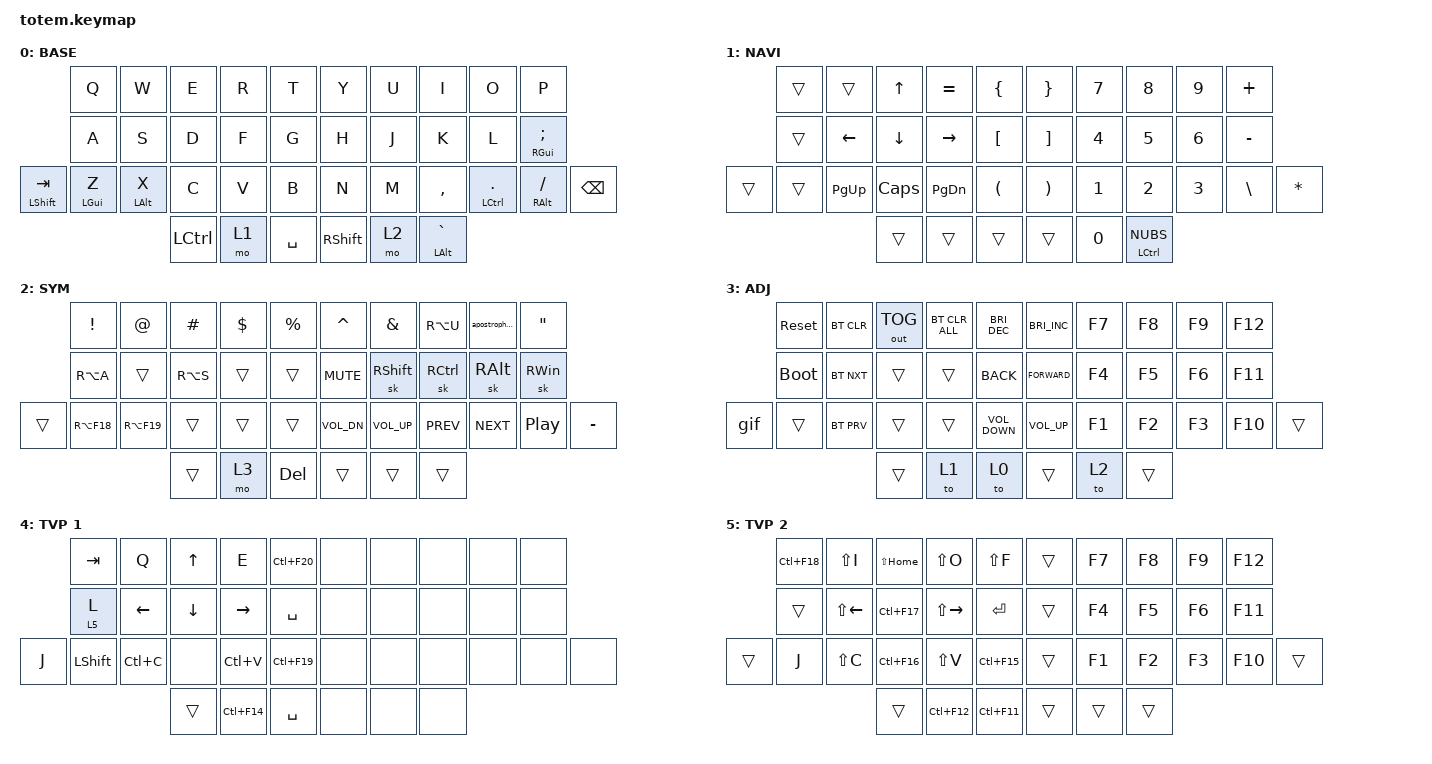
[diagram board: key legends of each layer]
//
//                                                        ▀▀▀▀▀     ▀▀▀▀▀          ▀▀█▀▀
//                                                        ▄▀▀▀▄  ▄  ▄▀▀▀▄  ▄  ▄▀▀▀▄  █  ▄▀▀▀▄
//                                                        █   █  █  █   █  █  █   █  █  █   █
//                                                         ▀▀▀   █   ▀▀▀   █   ▀▀▀   ▀   ▀▀▀
//                                                               █      ▄▄▄█▄▄▄    █   █  
//                                                               ▀      █  █  █     █▄█
//                                                             ▀▀▀▀▀    █  █  █      ▀
//                                                                      ▀  ▀  ▀
//
// ▄▄▄▄▄▄▄▄▄▄▄▄▄▄▄▄▄▄▄▄▄▄▄▄▄▄▄▄▄▄▄▄▄▄▄▄▄▄▄▄▄▄▄▄▄▄▄▄▄▄▄▄▄▄▄▄▄▄▄▄▄▄▄▄▄▄▄▄▄▄▄▄▄▄▄▄▄▄▄▄▄▄▄▄▄▄▄▄▄▄▄▄▄▄▄▄▄▄▄▄▄▄▄▄▄▄▄▄▄▄▄▄▄▄▄▄▄▄▄▄▄▄▄▄▄▄▄▄▄▄▄▄▄▄▄▄▄▄▄▄▄▄▄▄▄▄▄▄▄

#include <behaviors.dtsi>
#include <dt-bindings/zmk/bt.h>
#include <dt-bindings/zmk/keys.h>
#include <dt-bindings/zmk/outputs.h>

#define BASE 0
#define NAV  1
#define SYM  2
#define ADJ  3
#define TVP1 4
#define TVP2 5

&mt {
    quick-tap-ms = <100>;
    global-quick-tap;
    flavor = "tap-preferred";
    tapping-term-ms = <170>;
};

/ {
    combos {
        compatible = "zmk,combos";

        combo_esc {
            timeout-ms = <50>;
            key-positions = <0 1>;
            bindings = <&kp ESC>;
        };

        combo_tvp {
            timeout-ms = <100>;
            key-positions = <11 12 13>;
            bindings = <&tog 3>;
        };

        newline {
            bindings = <&kp RETURN>;
            key-positions = <16 17 18>;
            timeout-ms = <100>;
        };

        smilecombo {
            bindings = <&smile>;
            key-positions = <6 7 8>;
        };

        winkcombo {
            bindings = <&wink>;
            key-positions = <6 7 5>;
        };

        backspacecombo {
            bindings = <&kp BACKSPACE>;
            key-positions = <16 15>;
            timeout-ms = <50>;
        };

        gamelayer {
            bindings = <&tog 4>;
            key-positions = <22 23 24>;
            timeout-ms = <100>;
        };

        backspacealt {
            bindings = <&kp RA(BACKSPACE)>;
            key-positions = <16 15 17>;
            timeout-ms = <50>;
        };

        backspaceline {
            bindings = <&kp RG(BACKSPACE)>;
            key-positions = <16 15 17 18>;
            timeout-ms = <50>;
        };
    };

    macros {
        gif: gif {
            label = "giphy";
            compatible = "zmk,behavior-macro";
            #binding-cells = <0>;
            bindings =
                <&macro_press>,
                <&kp LSHFT>,
                <&macro_tap>,
                <&kp N2>,
                <&macro_release>,
                <&kp LSHFT>,
                <&macro_tap>,
                <&kp G &kp I &kp F>;
        };

        smile: smile {
            compatible = "zmk,behavior-macro";
            #binding-cells = <0>;
            bindings = <&macro_tap>, <&kp COLON &kp RIGHT_PARENTHESIS>;

            label = "SMILE";
        };

        wink: wink {
            compatible = "zmk,behavior-macro";
            #binding-cells = <0>;
            bindings = <&macro_tap>, <&kp SEMICOLON &kp RIGHT_PARENTHESIS>;

            label = "WINK";
        };

        apostrophesingle: apostrophesingle {
            compatible = "zmk,behavior-macro";
            #binding-cells = <0>;
            bindings = <&macro_tap>, <&kp APOS &kp SPACE>;

            label = "APOSTROPHESINGLE";
        };
    };

    keymap {
        compatible = "zmk,keymap";

        // ▄▄▄▄▄▄▄▄▄▄▄▄▄▄▄▄▄▄▄▄▄▄▄▄▄▄▄▄▄▄▄▄▄▄▄▄▄▄▄▄▄▄▄▄▄▄▄▄▄▄▄▄▄▄▄▄▄▄▄▄▄▄▄▄▄▄▄▄▄▄▄▄▄▄▄▄▄▄▄▄▄▄▄▄▄▄▄▄▄▄▄▄▄▄▄▄▄▄▄▄▄▄▄▄▄▄▄▄▄▄▄▄▄▄▄▄▄▄▄▄▄▄▄▄▄▄▄▄▄▄▄▄▄▄▄▄▄▄▄▄▄▄▄▄▄▄▄▄▄

        base_layer {
            // ┏━━━━━━━━━━━━━━━━━━━━━━━━━━━━━━━━━━━━━━━┓

            label = "BASE";

            // ┗━━━━━━━━━━━━━━━━━━━━━━━━━━━━━━━━━━━━━━━┛
            //             ┏━━━━━━━━━━━┳━━━━━━━━━━━┳━━━━━━━━━━━┳━━━━━━━━━━━┳━━━━━━━━━━━┓   ┏━━━━━━━━━━━┳━━━━━━━━━━━┳━━━━━━━━━━━┳━━━━━━━━━━━┳━━━━━━━━━━━┓
            //             ┃     Q     ┃     W     ┃     F     ┃     P     ┃     G     ┃   ┃     J     ┃     L     ┃     U     ┃     Y     ┃     ;     ┃
            //             ┣━━━━━━━━━━━╋━━━━━━━━━━━╋━━━━━━━━━━━╋━━━━━━━━━━━╋━━━━━━━━━━━┫   ┣━━━━━━━━━━━╋━━━━━━━━━━━╋━━━━━━━━━━━╋━━━━━━━━━━━╋━━━━━━━━━━━┫
            //             ┃     A     ┃     R     ┃     S     ┃     T     ┃     D     ┃   ┃     H     ┃     N     ┃     E     ┃     I     ┃     O     ┃
            // ┏━━━━━━━━━━━╋━━━━━━━━━━━╋━━━━━━━━━━━╋━━━━━━━━━━━╋━━━━━━━━━━━╋━━━━━━━━━━━┫   ┣━━━━━━━━━━━╋━━━━━━━━━━━╋━━━━━━━━━━━╋━━━━━━━━━━━╋━━━━━━━━━━━╋━━━━━━━━━━━┓
            // ┃     Q     ┃     Z     ┃     X     ┃     C     ┃     V     ┃     B     ┃   ┃     K     ┃     M     ┃     ,     ┃     .     ┃     /     ┃     \     ┃
            // ┗━━━━━━━━━━━┻━━━━━━━━━━━┻━━━━━━━━━━━╋━━━━━━━━━━━╋━━━━━━━━━━━╋━━━━━━━━━━━┫   ┣━━━━━━━━━━━╋━━━━━━━━━━━╋━━━━━━━━━━━╋━━━━━━━━━━━┻━━━━━━━━━━━┻━━━━━━━━━━━┛
            //                                     ┃    DEL    ┃    TAB    ┃    SPC    ┃   ┃   ENTER   ┃           ┃   BSPC    ┃
            //                                     ┗━━━━━━━━━━━┻━━━━━━━━━━━┻━━━━━━━━━━━┛   ┗━━━━━━━━━━━┻━━━━━━━━━━━┻━━━━━━━━━━━┛

            bindings = <
                    &kp Q       &kp W           &kp E      &kp R  &kp T        &kp Y            &kp U  &kp I               &kp O                 &kp P
                    &kp A       &kp S           &kp D      &kp F  &kp G        &kp H            &kp J  &kp K               &kp L                 &mt RGUI SEMI
&mt LEFT_SHIFT TAB  &mt LGUI Z  &mt LEFT_ALT X  &kp C      &kp V  &kp B        &kp N            &kp M  &kp COMMA           &mt LEFT_CONTROL DOT  &mt RIGHT_ALT FSLH  &kp BACKSPACE
                                                &kp LCTRL  &mo 1  &kp SPACE    &kp RIGHT_SHIFT  &mo 2  &mt LEFT_ALT GRAVE
            >;
        };

        // ▄▄▄▄▄▄▄▄▄▄▄▄▄▄▄▄▄▄▄▄▄▄▄▄▄▄▄▄▄▄▄▄▄▄▄▄▄▄▄▄▄▄▄▄▄▄▄▄▄▄▄▄▄▄▄▄▄▄▄▄▄▄▄▄▄▄▄▄▄▄▄▄▄▄▄▄▄▄▄▄▄▄▄▄▄▄▄▄▄▄▄▄▄▄▄▄▄▄▄▄▄▄▄▄▄▄▄▄▄▄▄▄▄▄▄▄▄▄▄▄▄▄▄▄▄▄▄▄▄▄▄▄▄▄▄▄▄▄▄▄▄▄▄▄▄▄▄▄▄

        nav_layer {
            // ┏━━━━━━━━━━━━━━━━━━━━━━━━━━━━━━━━━━━━━━━┓

            label = "NAVI";

            // ┗━━━━━━━━━━━━━━━━━━━━━━━━━━━━━━━━━━━━━━━┛
            //             ┏━━━━━━━━━━━┳━━━━━━━━━━━┳━━━━━━━━━━━┳━━━━━━━━━━━┳━━━━━━━━━━━┓   ┏━━━━━━━━━━━┳━━━━━━━━━━━┳━━━━━━━━━━━┳━━━━━━━━━━━┳━━━━━━━━━━━┓
            //             ┃           ┃           ┃     UP    ┃           ┃     {     ┃   ┃     }     ┃     7     ┃     8     ┃     9     ┃     +     ┃
            //             ┣━━━━━━━━━━━╋━━━━━━━━━━━╋━━━━━━━━━━━╋━━━━━━━━━━━╋━━━━━━━━━━━┫   ┣━━━━━━━━━━━╋━━━━━━━━━━━╋━━━━━━━━━━━╋━━━━━━━━━━━╋━━━━━━━━━━━┫
            //             ┃   SHIFT   ┃   LEFT    ┃    DOWN   ┃   RIGHT   ┃     [     ┃   ┃     ]     ┃     4     ┃     5     ┃     6     ┃     -     ┃
            // ┏━━━━━━━━━━━╋━━━━━━━━━━━╋━━━━━━━━━━━╋━━━━━━━━━━━╋━━━━━━━━━━━╋━━━━━━━━━━━┫   ┣━━━━━━━━━━━╋━━━━━━━━━━━╋━━━━━━━━━━━╋━━━━━━━━━━━╋━━━━━━━━━━━╋━━━━━━━━━━━┓
            // ┃           ┃           ┃   P UP    ┃  C LOCK   ┃  P DOWN   ┃     (     ┃   ┃     )     ┃     1     ┃     2     ┃     3     ┃     *     ┃           ┃
            // ┗━━━━━━━━━━━┻━━━━━━━━━━━┻━━━━━━━━━━━╋━━━━━━━━━━━╋━━━━━━━━━━━╋━━━━━━━━━━━┫   ┣━━━━━━━━━━━╋━━━━━━━━━━━╋━━━━━━━━━━━╋━━━━━━━━━━━┻━━━━━━━━━━━┻━━━━━━━━━━━┛
            //                                     ┃           ┃    TAB    ┃    SPC    ┃   ┃    DEL    ┃     0     ┃           ┃
            //                                     ┗━━━━━━━━━━━┻━━━━━━━━━━━┻━━━━━━━━━━━┛   ┗━━━━━━━━━━━┻━━━━━━━━━━━┻━━━━━━━━━━━┛

            bindings = <
        &trans  &trans     &kp UP    &kp EQUAL  &kp LBRC    &kp RBRC  &kp NUMBER_7  &kp NUMBER_8    &kp NUMBER_9  &kp PLUS
        &trans  &kp LEFT   &kp DOWN  &kp RIGHT  &kp LBKT    &kp RBKT  &kp NUMBER_4  &kp NUMBER_5    &kp NUMBER_6  &kp MINUS
&trans  &trans  &kp PG_UP  &kp CAPS  &kp PG_DN  &kp LPAR    &kp RPAR  &kp NUMBER_1  &kp NUMBER_2    &kp NUMBER_3  &kp BACKSLASH  &kp ASTERISK
                           &trans    &trans     &trans      &trans    &kp NUMBER_0  &mt LCTRL NUBS
            >;
        };

        // ▄▄▄▄▄▄▄▄▄▄▄▄▄▄▄▄▄▄▄▄▄▄▄▄▄▄▄▄▄▄▄▄▄▄▄▄▄▄▄▄▄▄▄▄▄▄▄▄▄▄▄▄▄▄▄▄▄▄▄▄▄▄▄▄▄▄▄▄▄▄▄▄▄▄▄▄▄▄▄▄▄▄▄▄▄▄▄▄▄▄▄▄▄▄▄▄▄▄▄▄▄▄▄▄▄▄▄▄▄▄▄▄▄▄▄▄▄▄▄▄▄▄▄▄▄▄▄▄▄▄▄▄▄▄▄▄▄▄▄▄▄▄▄▄▄▄▄▄▄

        sim_layer {
            // ┏━━━━━━━━━━━━━━━━━━━━━━━━━━━━━━━━━━━━━━━┓

            label = "SYM";

            // ┗━━━━━━━━━━━━━━━━━━━━━━━━━━━━━━━━━━━━━━━┛
            //             ┏━━━━━━━━━━━┳━━━━━━━━━━━┳━━━━━━━━━━━┳━━━━━━━━━━━┳━━━━━━━━━━━┓   ┏━━━━━━━━━━━┳━━━━━━━━━━━┳━━━━━━━━━━━┳━━━━━━━━━━━┳━━━━━━━━━━━┓
            //             ┃     !     ┃     @     ┃     #     ┃     $     ┃     %     ┃   ┃     ˆ     ┃     &     ┃     Ü     ┃     '     ┃     "     ┃
            //             ┣━━━━━━━━━━━╋━━━━━━━━━━━╋━━━━━━━━━━━╋━━━━━━━━━━━╋━━━━━━━━━━━┫   ┣━━━━━━━━━━━╋━━━━━━━━━━━╋━━━━━━━━━━━╋━━━━━━━━━━━╋━━━━━━━━━━━┫
            //             ┃     Ä     ┃           ┃    SZ     ┃           ┃           ┃   ┃   MUTE    ┃   YEN     ┃   EURO    ┃  POUND    ┃     Ö     ┃
            // ┏━━━━━━━━━━━╋━━━━━━━━━━━╋━━━━━━━━━━━╋━━━━━━━━━━━╋━━━━━━━━━━━╋━━━━━━━━━━━┫   ┣━━━━━━━━━━━╋━━━━━━━━━━━╋━━━━━━━━━━━╋━━━━━━━━━━━╋━━━━━━━━━━━╋━━━━━━━━━━━┓
            // ┃           ┃  EMAIL1   ┃  EMAIL2   ┃           ┃           ┃           ┃   ┃   VOL-    ┃   VOL+    ┃   LAST    ┃   NEXT    ┃     \     ┃           ┃
            // ┗━━━━━━━━━━━┻━━━━━━━━━━━┻━━━━━━━━━━━╋━━━━━━━━━━━╋━━━━━━━━━━━╋━━━━━━━━━━━┫   ┣━━━━━━━━━━━╋━━━━━━━━━━━╋━━━━━━━━━━━╋━━━━━━━━━━━┻━━━━━━━━━━━┻━━━━━━━━━━━┛
            //                                     ┃           ┃    GIF    ┃    ADJ    ┃   ┃           ┃           ┃           ┃
            //                                     ┗━━━━━━━━━━━┻━━━━━━━━━━━┻━━━━━━━━━━━┛   ┗━━━━━━━━━━━┻━━━━━━━━━━━┻━━━━━━━━━━━┛

            bindings = <
        &kp EXCL     &kp AT       &kp HASH   &kp DLLR  &kp PRCNT    &kp CARET     &kp AMPS         &kp RA(U)   &apostrophesingle  &kp DQT
        &kp RA(A)    &trans       &kp RA(S)  &trans    &trans       &kp C_MUTE    &sk RIGHT_SHIFT  &sk RCTRL   &sk RIGHT_ALT      &sk RIGHT_WIN
&trans  &kp RA(F18)  &kp RA(F19)  &trans     &trans    &trans       &kp C_VOL_DN  &kp C_VOL_UP     &kp C_PREV  &kp C_NEXT         &kp C_PP       &kp MINUS
                                  &trans     &mo 3     &kp DEL      &trans        &trans           &trans
            >;
        };

        // ▄▄▄▄▄▄▄▄▄▄▄▄▄▄▄▄▄▄▄▄▄▄▄▄▄▄▄▄▄▄▄▄▄▄▄▄▄▄▄▄▄▄▄▄▄▄▄▄▄▄▄▄▄▄▄▄▄▄▄▄▄▄▄▄▄▄▄▄▄▄▄▄▄▄▄▄▄▄▄▄▄▄▄▄▄▄▄▄▄▄▄▄▄▄▄▄▄▄▄▄▄▄▄▄▄▄▄▄▄▄▄▄▄▄▄▄▄▄▄▄▄▄▄▄▄▄▄▄▄▄▄▄▄▄▄▄▄▄▄▄▄▄▄▄▄▄▄▄▄

        adjust_layer {
            // ┏━━━━━━━━━━━━━━━━━━━━━━━━━━━━━━━━━━━━━━━┓

            label = "ADJ";

            // ┗━━━━━━━━━━━━━━━━━━━━━━━━━━━━━━━━━━━━━━━┛
            //             ┏━━━━━━━━━━━┳━━━━━━━━━━━┳━━━━━━━━━━━┳━━━━━━━━━━━┳━━━━━━━━━━━┓   ┏━━━━━━━━━━━┳━━━━━━━━━━━┳━━━━━━━━━━━┳━━━━━━━━━━━┳━━━━━━━━━━━┓
            //             ┃   RESET   ┃ BT CLEAR  ┃  OUT TOG  ┃           ┃           ┃   ┃           ┃    F7     ┃    F8     ┃    F9     ┃    F12    ┃
            //             ┣━━━━━━━━━━━╋━━━━━━━━━━━╋━━━━━━━━━━━╋━━━━━━━━━━━╋━━━━━━━━━━━┫   ┣━━━━━━━━━━━╋━━━━━━━━━━━╋━━━━━━━━━━━╋━━━━━━━━━━━╋━━━━━━━━━━━┫
            //             ┃ BOOTLOAD  ┃ BT NEXT   ┃           ┃           ┃           ┃   ┃           ┃    F4     ┃    F5     ┃    F6     ┃    F11    ┃
            // ┏━━━━━━━━━━━╋━━━━━━━━━━━╋━━━━━━━━━━━╋━━━━━━━━━━━╋━━━━━━━━━━━╋━━━━━━━━━━━┫   ┣━━━━━━━━━━━╋━━━━━━━━━━━╋━━━━━━━━━━━╋━━━━━━━━━━━╋━━━━━━━━━━━╋━━━━━━━━━━━┓
            // ┃           ┃           ┃ BT PREV   ┃           ┃           ┃           ┃   ┃           ┃    F1     ┃    F2     ┃    F3     ┃    F10    ┃           ┃
            // ┗━━━━━━━━━━━┻━━━━━━━━━━━┻━━━━━━━━━━━╋━━━━━━━━━━━╋━━━━━━━━━━━╋━━━━━━━━━━━┫   ┣━━━━━━━━━━━╋━━━━━━━━━━━╋━━━━━━━━━━━╋━━━━━━━━━━━┻━━━━━━━━━━━┻━━━━━━━━━━━┛
            //                                     ┃           ┃           ┃           ┃   ┃           ┃           ┃           ┃
            //                                     ┗━━━━━━━━━━━┻━━━━━━━━━━━┻━━━━━━━━━━━┛   ┗━━━━━━━━━━━┻━━━━━━━━━━━┻━━━━━━━━━━━┛

            bindings = <
      &sys_reset   &bt BT_CLR  &out OUT_TOG  &bt BT_CLR_ALL  &kp C_BRIGHTNESS_DEC    &kp C_BRIGHTNESS_INC  &kp F7  &kp F8  &kp F9  &kp F12
      &bootloader  &bt BT_NXT  &trans        &trans          &kp K_BACK              &kp K_FORWARD         &kp F4  &kp F5  &kp F6  &kp F11
&gif  &trans       &bt BT_PRV  &trans        &trans          &kp C_VOLUME_DOWN       &kp C_VOLUME_UP       &kp F1  &kp F2  &kp F3  &kp F10  &trans
                               &trans        &to 1           &to 0                   &trans                &to 2   &trans
            >;
        };

        // ▄▄▄▄▄▄▄▄▄▄▄▄▄▄▄▄▄▄▄▄▄▄▄▄▄▄▄▄▄▄▄▄▄▄▄▄▄▄▄▄▄▄▄▄▄▄▄▄▄▄▄▄▄▄▄▄▄▄▄▄▄▄▄▄▄▄▄▄▄▄▄▄▄▄▄▄▄▄▄▄▄▄▄▄▄▄▄▄▄▄▄▄▄▄▄▄▄▄▄▄▄▄▄▄▄▄▄▄▄▄▄▄▄▄▄▄▄▄▄▄▄▄▄▄▄▄▄▄▄▄▄▄▄▄▄▄▄▄▄▄▄▄▄▄▄▄▄▄▄

        game {
            // ┏━━━━━━━━━━━━━━━━━━━━━━━━━━━━━━━━━━━━━━━┓

            label = "TVP 1";

            // ┗━━━━━━━━━━━━━━━━━━━━━━━━━━━━━━━━━━━━━━━┛
            //             ┏━━━━━━━━━━━┳━━━━━━━━━━━┳━━━━━━━━━━━┳━━━━━━━━━━━┳━━━━━━━━━━━┓   ┏━━━━━━━━━━━┳━━━━━━━━━━━┳━━━━━━━━━━━┳━━━━━━━━━━━┳━━━━━━━━━━━┓
            //             ┃ NEXT FILE ┃ MARK IN   ┃ ROTATE    ┃ MARK OUT  ┃ SHOW SNAP ┃   ┃           ┃           ┃           ┃           ┃           ┃
            //             ┣━━━━━━━━━━━╋━━━━━━━━━━━╋━━━━━━━━━━━╋━━━━━━━━━━━╋━━━━━━━━━━━┫   ┣━━━━━━━━━━━╋━━━━━━━━━━━╋━━━━━━━━━━━╋━━━━━━━━━━━╋━━━━━━━━━━━┫
            //             ┃ TVP II    ┃ LEFT      ┃ PAN       ┃ RIGHT     ┃ PLAY/FLIP ┃   ┃           ┃           ┃           ┃           ┃           ┃
            // ┏━━━━━━━━━━━╋━━━━━━━━━━━╋━━━━━━━━━━━╋━━━━━━━━━━━╋━━━━━━━━━━━╋━━━━━━━━━━━┫   ┣━━━━━━━━━━━╋━━━━━━━━━━━╋━━━━━━━━━━━╋━━━━━━━━━━━╋━━━━━━━━━━━╋━━━━━━━━━━━┓
            // ┃ FULLSCR   ┃ SHIFT     ┃ COPY      ┃ DELETE    ┃ PASTE     ┃ IMG MARK  ┃   ┃           ┃           ┃           ┃           ┃           ┃           ┃
            // ┗━━━━━━━━━━━┻━━━━━━━━━━━┻━━━━━━━━━━━╋━━━━━━━━━━━╋━━━━━━━━━━━╋━━━━━━━━━━━┫   ┣━━━━━━━━━━━╋━━━━━━━━━━━╋━━━━━━━━━━━╋━━━━━━━━━━━┻━━━━━━━━━━━┻━━━━━━━━━━━┛
            //                                     ┃           ┃ UNDO/SAVE ┃  SEL/MOV  ┃   ┃           ┃           ┃           ┃
            //                                     ┗━━━━━━━━━━━┻━━━━━━━━━━━┻━━━━━━━━━━━┛   ┗━━━━━━━━━━━┻━━━━━━━━━━━┻━━━━━━━━━━━┛

            bindings = <
       &kp TAB    &kp Q      &kp UP_ARROW  &kp E        &kp LC(F20)    &none  &none  &none  &none  &none
       &lt 5 L    &kp LEFT   &kp DOWN      &kp RIGHT    &kp SPACE      &none  &none  &none  &none  &none
&kp J  &kp LSHFT  &kp LC(C)  &none         &kp LC(V)    &kp LC(F19)    &none  &none  &none  &none  &none  &none
                             &trans        &kp LC(F14)  &kp SPACE      &none  &none  &none
            >;
        };

        // ▄▄▄▄▄▄▄▄▄▄▄▄▄▄▄▄▄▄▄▄▄▄▄▄▄▄▄▄▄▄▄▄▄▄▄▄▄▄▄▄▄▄▄▄▄▄▄▄▄▄▄▄▄▄▄▄▄▄▄▄▄▄▄▄▄▄▄▄▄▄▄▄▄▄▄▄▄▄▄▄▄▄▄▄▄▄▄▄▄▄▄▄▄▄▄▄▄▄▄▄▄▄▄▄▄▄▄▄▄▄▄▄▄▄▄▄▄▄▄▄▄▄▄▄▄▄▄▄▄▄▄▄▄▄▄▄▄▄▄▄▄▄▄▄▄▄▄▄▄

        tvp2_layer {
            // ┏━━━━━━━━━━━━━━━━━━━━━━━━━━━━━━━━━━━━━━━┓

            label = "TVP 2";

            // ┗━━━━━━━━━━━━━━━━━━━━━━━━━━━━━━━━━━━━━━━┛
            //             ┏━━━━━━━━━━━┳━━━━━━━━━━━┳━━━━━━━━━━━┳━━━━━━━━━━━┳━━━━━━━━━━━┓   ┏━━━━━━━━━━━┳━━━━━━━━━━━┳━━━━━━━━━━━┳━━━━━━━━━━━┳━━━━━━━━━━━┓
            //             ┃ SOLO      ┃ TOGGLE IN ┃ RESET ROT ┃ TOGGLE OUT┃ TAKE SNAP ┃   ┃           ┃           ┃           ┃           ┃           ┃
            //             ┣━━━━━━━━━━━╋━━━━━━━━━━━╋━━━━━━━━━━━╋━━━━━━━━━━━╋━━━━━━━━━━━┫   ┣━━━━━━━━━━━╋━━━━━━━━━━━╋━━━━━━━━━━━╋━━━━━━━━━━━╋━━━━━━━━━━━┫
            //             ┃ ---       ┃ LAST KEY  ┃ NEW KEY   ┃ NEXT KEY  ┃ ENTER     ┃   ┃           ┃           ┃           ┃           ┃           ┃
            // ┏━━━━━━━━━━━╋━━━━━━━━━━━╋━━━━━━━━━━━╋━━━━━━━━━━━╋━━━━━━━━━━━╋━━━━━━━━━━━┫   ┣━━━━━━━━━━━╋━━━━━━━━━━━╋━━━━━━━━━━━╋━━━━━━━━━━━╋━━━━━━━━━━━╋━━━━━━━━━━━┓
            // ┃           ┃ FULLSCR   ┃ CPY2BRUSH ┃ DEL HEAD  ┃ PSTinPLACE┃ BOOK MARK ┃   ┃           ┃           ┃           ┃           ┃           ┃           ┃
            // ┗━━━━━━━━━━━┻━━━━━━━━━━━┻━━━━━━━━━━━╋━━━━━━━━━━━╋━━━━━━━━━━━╋━━━━━━━━━━━┫   ┣━━━━━━━━━━━╋━━━━━━━━━━━╋━━━━━━━━━━━╋━━━━━━━━━━━┻━━━━━━━━━━━┻━━━━━━━━━━━┛
            //                                     ┃           ┃ REDO/SAV1 ┃TRANS/WARP ┃   ┃           ┃           ┃           ┃
            //                                     ┗━━━━━━━━━━━┻━━━━━━━━━━━┻━━━━━━━━━━━┛   ┗━━━━━━━━━━━┻━━━━━━━━━━━┻━━━━━━━━━━━┛

            bindings = <
        &kp LC(F18)  &kp LS(I)     &kp LS(HOME)  &kp LS(O)      &kp LS(F)      &trans  &kp F7  &kp F8  &kp F9  &kp F12
        &trans       &kp LS(LEFT)  &kp LC(F17)   &kp LS(RIGHT)  &kp RET        &trans  &kp F4  &kp F5  &kp F6  &kp F11
&trans  &kp J        &kp LS(C)     &kp LC(F16)   &kp LS(V)      &kp LC(F15)    &trans  &kp F1  &kp F2  &kp F3  &kp F10  &trans
                                   &trans        &kp LC(F12)    &kp LC(F11)    &trans  &trans  &trans
            >;
        };
    };
};
